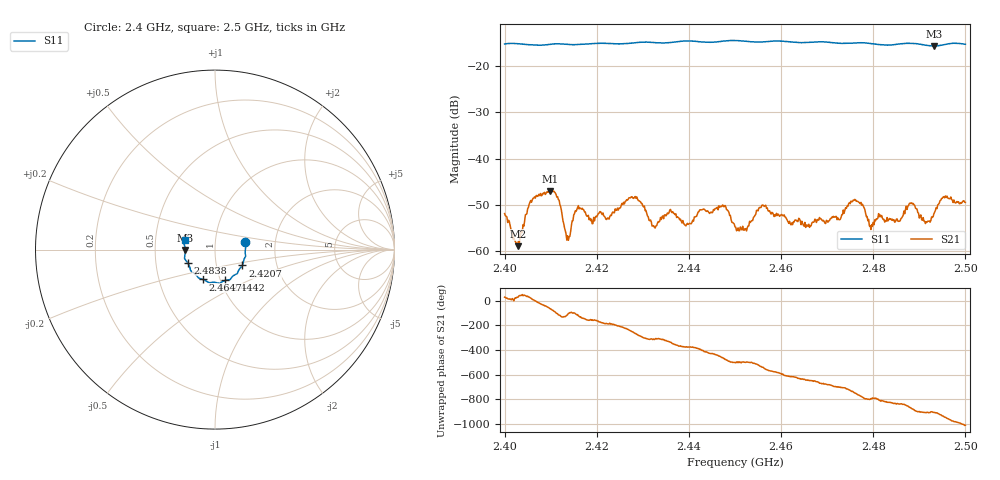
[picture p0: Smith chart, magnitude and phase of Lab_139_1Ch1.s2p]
# Hz S RI R 50
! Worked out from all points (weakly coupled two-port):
!   601 points, 2.4 GHz to 2.5 GHz, reference 50 ohm
!   highest |S21| = -46.96 dB at 2.4098 GHz (marker M1); lowest = -58.9 dB at 2.4028 GHz (marker M2)
!   lowest |S11| = -15.6 dB at 2.4932 GHz (marker M3), VSWR 1.40, Z = 35.8 - j0.144 ohm
!   |S11| at or under -10 dB: start of sweep to end of sweep
!   S12 and S22 are empty: the file has one direction only
!   S11 on the Smith chart (normalised r, x): 2.4 GHz: 1.40, +0.12; 2.4207 GHz: 1.33, -0.24; 2.4442 GHz: 1.05, -0.37; 2.4647 GHz: 0.83, -0.29; 2.4838 GHz: 0.73, -0.11; 2.5 GHz: 0.71, +0.07
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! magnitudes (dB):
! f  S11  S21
! 2.4 GHz  -15.2  -51.8
! 2.4028 GHz  -15.1  -58.9
! 2.4058 GHz  -15.4  -49.4
! 2.4098 GHz  -15.3  -47.0
! 2.4115 GHz  -15.2  -48.2
! 2.4137 GHz  -15.3  -56.6
! 2.4167 GHz  -15.3  -50.9
! 2.4207 GHz  -15.1  -51.4
! 2.4282 GHz  -15.0  -48.4
! 2.4333 GHz  -15.0  -53.6
! 2.4442 GHz  -14.9  -51.4
! 2.4475 GHz  -14.6  -50.3
! 2.45 GHz  -14.5  -54.7
! 2.4562 GHz  -14.8  -50.0
! 2.4647 GHz  -14.9  -54.0
! 2.4667 GHz  -14.8  -53.9
! 2.4757 GHz  -15.0  -48.9
! 2.4797 GHz  -15.1  -54.2
! 2.4833 GHz  -15.5  -53.2
! 2.4838 GHz  -15.4  -53.0
! 2.4932 GHz  -15.6  -51.9
! 2.5 GHz  -15.3  -49.4
